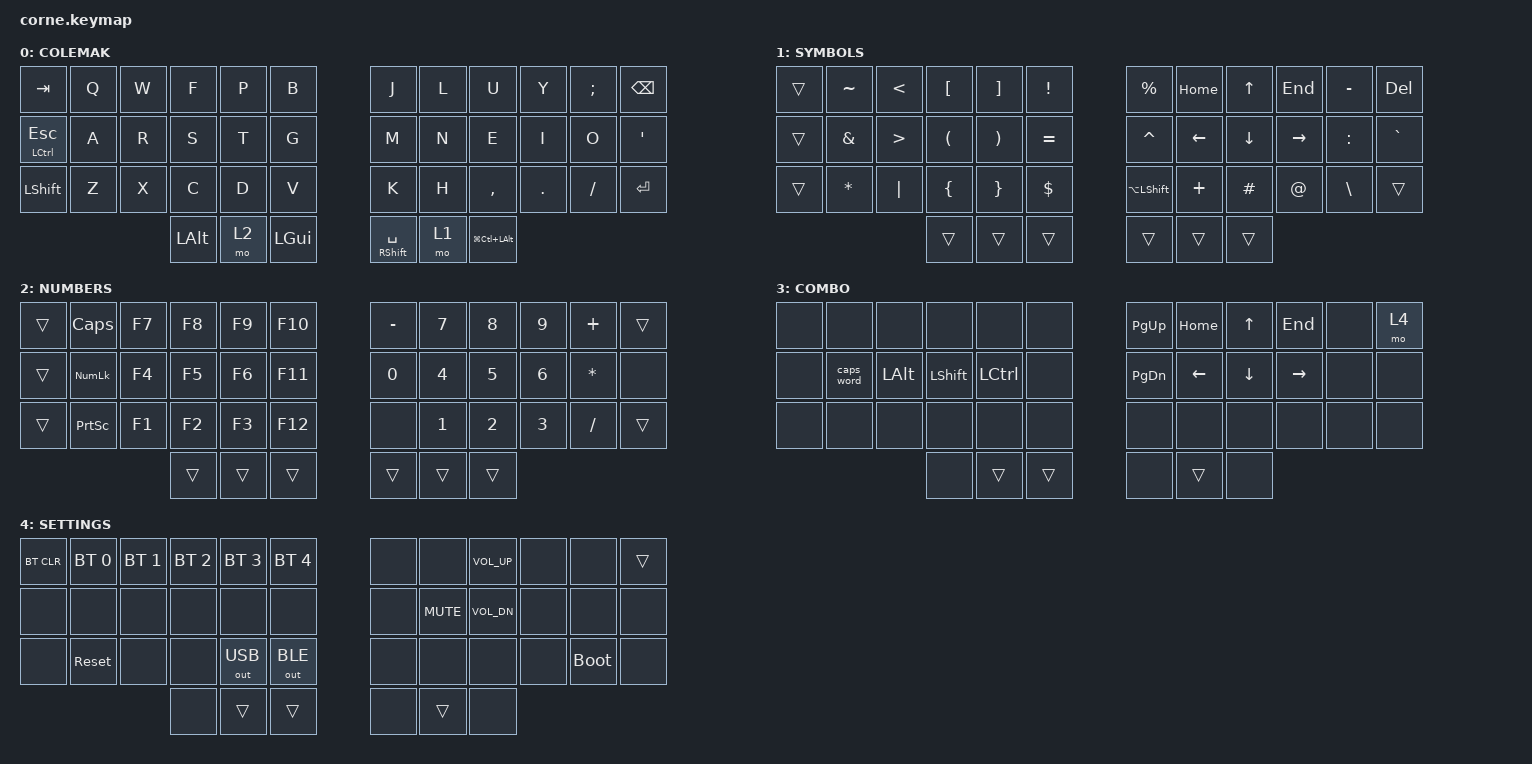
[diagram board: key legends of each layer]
/*
 * Copyright (c) 2020 The ZMK Contributors
 *
 * SPDX-License-Identifier: MIT
 */

#include <behaviors.dtsi>
#include <dt-bindings/zmk/bt.h>
#include <dt-bindings/zmk/keys.h>
#include <dt-bindings/zmk/outputs.h>

#define COLEMAK		0
#define SYMBOLS		1
#define NUMBERS		2
#define COMBO		3
#define SETTINGS	4

/ {
    conditional_layers {
        compatible = "zmk,conditional-layers";

        tri_layer {
            if-layers = <NUMBERS SYMBOLS>;
            then-layer = <COMBO>;
        };
    };
};

/ {
    macros {
    };

    keymap {
        compatible = "zmk,keymap";

        COLEMAK {
            bindings = <
&kp TAB        &kp Q  &kp W  &kp F     &kp P  &kp B       &kp J             &kp L  &kp U                 &kp Y    &kp SEMI  &kp BSPC
&mt LCTRL ESC  &kp A  &kp R  &kp S     &kp T  &kp G       &kp M             &kp N  &kp E                 &kp I    &kp O     &kp SQT
&kp LSHIFT     &kp Z  &kp X  &kp C     &kp D  &kp V       &kp K             &kp H  &kp COMMA             &kp DOT  &kp FSLH  &kp RET
                             &kp LALT  &mo 2  &kp LGUI    &mt RSHIFT SPACE  &mo 1  &kp LG(LC(LEFT_ALT))
            >;
        };

        SYMBOLS {
            bindings = <
&trans  &kp TILDE  &kp LT    &kp LBKT  &kp RBKT  &kp EXCL     &kp PRCNT           &kp HOME  &kp UP    &kp END    &kp MINUS  &kp DEL
&trans  &kp AMPS   &kp GT    &kp LPAR  &kp RPAR  &kp EQUAL    &kp CARET           &kp LEFT  &kp DOWN  &kp RIGHT  &kp COLON  &kp GRAVE
&trans  &kp ASTRK  &kp PIPE  &kp LBRC  &kp RBRC  &kp DLLR     &kp LA(LEFT_SHIFT)  &kp PLUS  &kp HASH  &kp AT     &kp BSLH   &trans
                             &trans    &trans    &trans       &trans              &trans    &trans
            >;
        };

        NUMBERS {
            bindings = <
&trans  &kp CAPS    &kp F7  &kp F8  &kp F9  &kp F10    &kp MINUS  &kp N7  &kp N8  &kp N9  &kp PLUS   &trans
&trans  &kp KP_NUM  &kp F4  &kp F5  &kp F6  &kp F11    &kp N0     &kp N4  &kp N5  &kp N6  &kp ASTRK  &none
&trans  &kp PSCRN   &kp F1  &kp F2  &kp F3  &kp F12    &none      &kp N1  &kp N2  &kp N3  &kp FSLH   &trans
                            &trans  &trans  &trans     &trans     &trans  &trans
            >;
        };

        COMBO {
            bindings = <
&none  &none       &none     &none      &none      &none     &kp PAGE_UP    &kp HOME  &kp UP    &kp END    &none  &mo 4
&none  &caps_word  &kp LALT  &kp LSHFT  &kp LCTRL  &none     &kp PAGE_DOWN  &kp LEFT  &kp DOWN  &kp RIGHT  &none  &none
&none  &none       &none     &none      &none      &none     &none          &none     &none     &none      &none  &none
                             &none      &trans     &trans    &none          &trans    &none
            >;
        };

        SETTINGS {
            bindings = <
&bt BT_CLR  &bt BT_SEL 0  &bt BT_SEL 1  &bt BT_SEL 2  &bt BT_SEL 3  &bt BT_SEL 4    &none  &none       &kp C_VOL_UP  &none  &none        &trans
&none       &none         &none         &none         &none         &none           &none  &kp C_MUTE  &kp C_VOL_DN  &none  &none        &none
&none       &sys_reset    &none         &none         &out OUT_USB  &out OUT_BLE    &none  &none       &none         &none  &bootloader  &none
                                        &none         &trans        &trans          &none  &trans      &none
            >;
        };
    };
};
